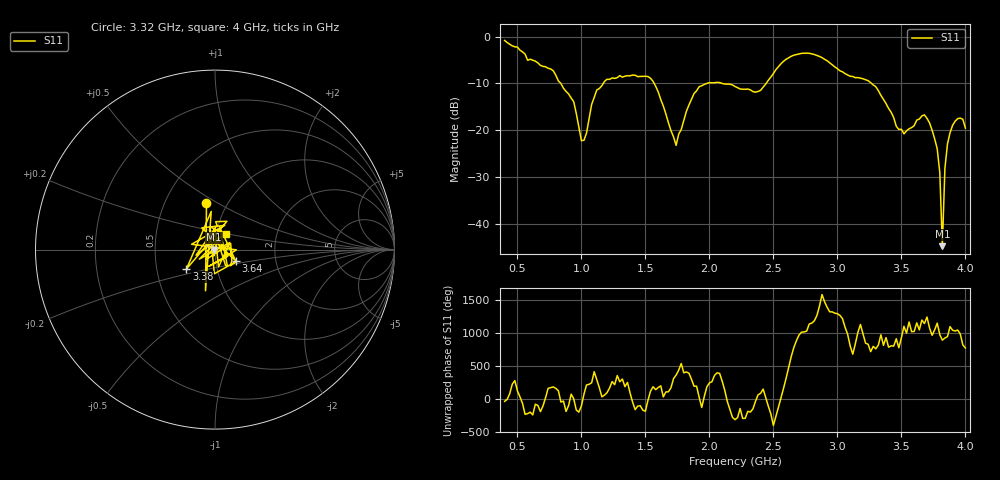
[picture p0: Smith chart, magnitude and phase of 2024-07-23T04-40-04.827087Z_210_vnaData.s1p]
!Created with skrf (http://scikit-rf.org).
# Hz S RI R 50.0
!freq ReS11 ImS11
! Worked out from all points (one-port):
!   181 points, 400 MHz to 4 GHz, reference 50 ohm
!   lowest |S11| = -44.9 dB at 3.82 GHz (marker M1), VSWR 1.01, Z = 49.4 + j0.0503 ohm
!   |S11| at or under -10 dB: 1.569 GHz to 1.979 GHz (409.9 MHz wide, 23.1 % of centre); 2.101 GHz to 2.443 GHz (341.6 MHz wide, 15 % of centre); 3.267 GHz to end of sweep (the widest 3 of 4)
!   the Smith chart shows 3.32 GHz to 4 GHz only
!   S11 on the Smith chart (normalised r, x): 3.32 GHz: 0.80, +0.45; 3.38 GHz: 0.71, -0.16; 3.64 GHz: 1.25, -0.16; 4 GHz: 1.11, +0.20
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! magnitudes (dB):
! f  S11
! 400 MHz  -0.8
! 860 MHz  -11.0
! 940 MHz  -13.9
! 1 GHz  -22.2
! 1.02 GHz  -22.2
! 1.12 GHz  -11.4
! 1.3 GHz  -8.3
! 1.54 GHz  -8.9
! 1.74 GHz  -23.3
! 1.76 GHz  -20.9
! 1.92 GHz  -10.7
! 2.2 GHz  -10.6
! 2.4 GHz  -11.5
! 2.66 GHz  -3.9
! 3.1 GHz  -8.4
! 3.32 GHz  -11.5
! 3.38 GHz  -14.3
! 3.48 GHz  -19.9
! 3.56 GHz  -19.7
! 3.64 GHz  -17.6
! 3.7 GHz  -17.5
! 3.78 GHz  -24.0
! 3.8 GHz  -29.1
! 3.82 GHz  -44.9
! 3.84 GHz  -28.2
! 3.86 GHz  -23.0
! 3.94 GHz  -17.5
! 4 GHz  -19.6
